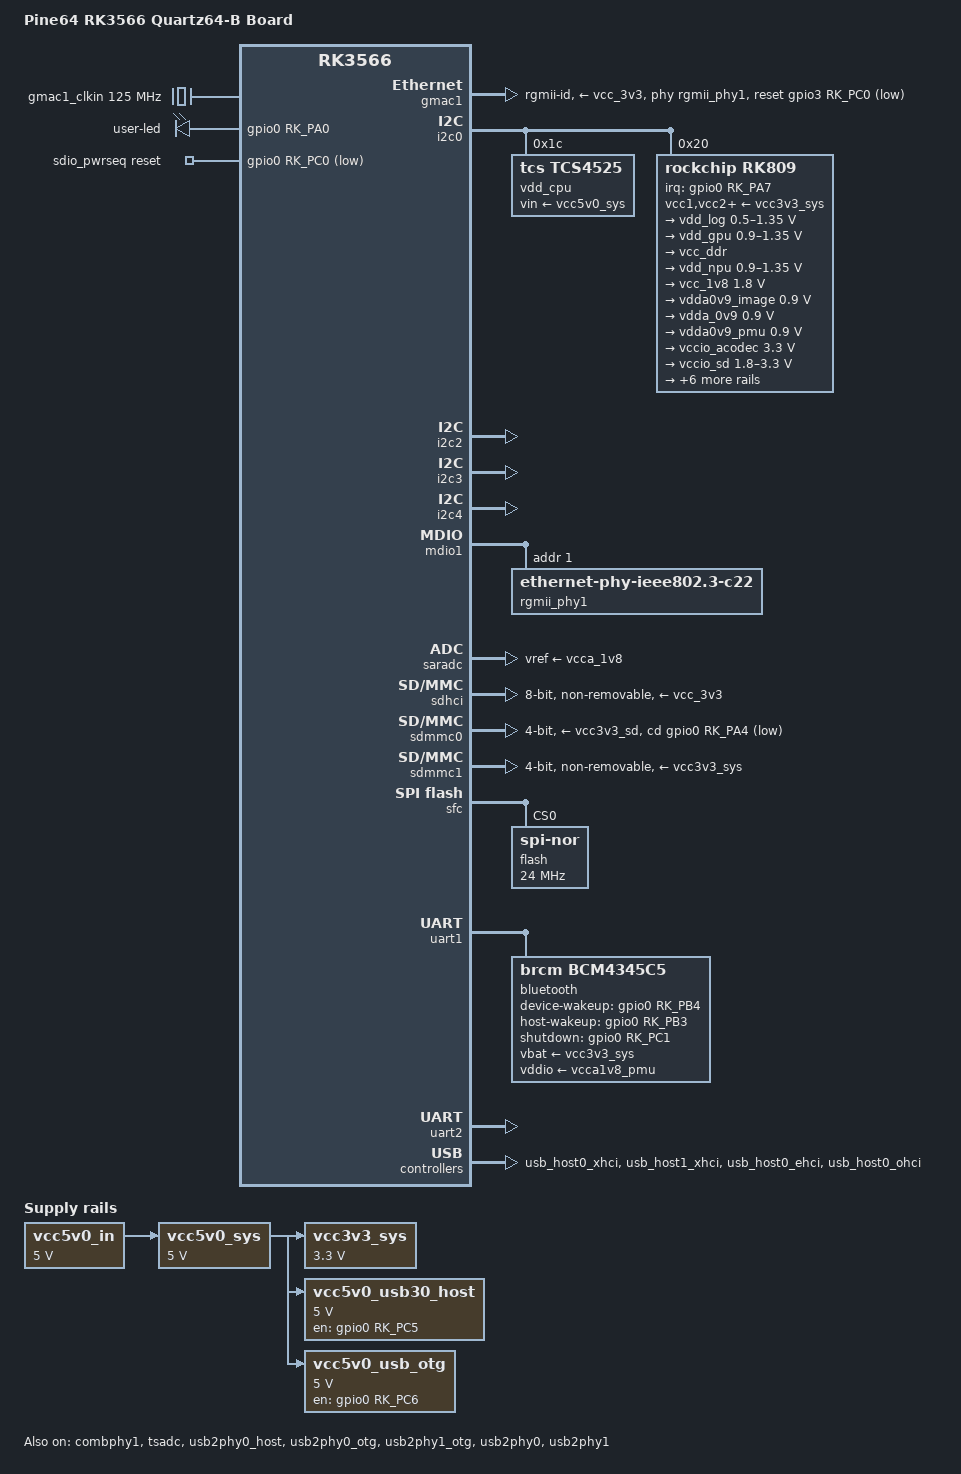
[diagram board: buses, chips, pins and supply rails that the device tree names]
// SPDX-License-Identifier: (GPL-2.0+ OR MIT)

/dts-v1/;

#include <dt-bindings/gpio/gpio.h>
#include <dt-bindings/pinctrl/rockchip.h>
#include "rk3566.dtsi"

/ {
	model = "Pine64 RK3566 Quartz64-B Board";
	compatible = "pine64,quartz64-b", "rockchip,rk3566";

	aliases {
		ethernet0 = &gmac1;
		mmc0 = &sdmmc0;
		mmc1 = &sdhci;
		mmc2 = &sdmmc1;
	};

	chosen: chosen {
		stdout-path = "serial2:1500000n8";
	};

	gmac1_clkin: external-gmac1-clock {
		compatible = "fixed-clock";
		clock-frequency = <125000000>;
		clock-output-names = "gmac1_clkin";
		#clock-cells = <0>;
	};

	leds {
		compatible = "gpio-leds";

		led-user {
			label = "user-led";
			default-state = "on";
			gpios = <&gpio0 RK_PA0 GPIO_ACTIVE_HIGH>;
			linux,default-trigger = "heartbeat";
			pinctrl-names = "default";
			pinctrl-0 = <&user_led_enable_h>;
			retain-state-suspended;
		};
	};

	sdio_pwrseq: sdio-pwrseq {
		status = "okay";
		compatible = "mmc-pwrseq-simple";
		clocks = <&rk809 1>;
		clock-names = "ext_clock";
		pinctrl-names = "default";
		pinctrl-0 = <&wifi_enable_h>;
		reset-gpios = <&gpio0 RK_PC0 GPIO_ACTIVE_LOW>;
		post-power-on-delay-ms = <100>;
		power-off-delay-us = <5000000>;
	};

	vcc5v0_in: vcc5v0-in-regulator {
		compatible = "regulator-fixed";
		regulator-name = "vcc5v0_in";
		regulator-always-on;
		regulator-boot-on;
		regulator-min-microvolt = <5000000>;
		regulator-max-microvolt = <5000000>;
	};

	vcc5v0_sys: vcc5v0-sys-regulator {
		compatible = "regulator-fixed";
		regulator-name = "vcc5v0_sys";
		regulator-always-on;
		regulator-boot-on;
		regulator-min-microvolt = <5000000>;
		regulator-max-microvolt = <5000000>;
		vin-supply = <&vcc5v0_in>;
	};

	vcc3v3_sys: vcc3v3-sys-regulator {
		compatible = "regulator-fixed";
		regulator-name = "vcc3v3_sys";
		regulator-min-microvolt = <3300000>;
		regulator-max-microvolt = <3300000>;
		regulator-always-on;
		vin-supply = <&vcc5v0_sys>;
	};

	vcc5v0_usb30_host: vcc5v0-usb30-host-regulator {
		compatible = "regulator-fixed";
		regulator-name = "vcc5v0_usb30_host";
		enable-active-high;
		gpio = <&gpio0 RK_PC5 GPIO_ACTIVE_HIGH>;
		pinctrl-names = "default";
		pinctrl-0 = <&vcc5v0_usb30_host_en_h>;
		regulator-always-on;
		regulator-min-microvolt = <5000000>;
		regulator-max-microvolt = <5000000>;
		vin-supply = <&vcc5v0_sys>;
	};

	vcc5v0_usb_otg: vcc5v0-usb-otg-regulator {
		compatible = "regulator-fixed";
		regulator-name = "vcc5v0_usb_otg";
		enable-active-high;
		gpio = <&gpio0 RK_PC6 GPIO_ACTIVE_HIGH>;
		pinctrl-names = "default";
		pinctrl-0 = <&vcc5v0_usb_otg_en_h>;
		regulator-always-on;
		regulator-min-microvolt = <5000000>;
		regulator-max-microvolt = <5000000>;
		vin-supply = <&vcc5v0_sys>;
	};
};

&combphy1 {
	status = "okay";
};

&cpu0 {
	cpu-supply = <&vdd_cpu>;
};

&cpu1 {
	cpu-supply = <&vdd_cpu>;
};

&cpu2 {
	cpu-supply = <&vdd_cpu>;
};

&cpu3 {
	cpu-supply = <&vdd_cpu>;
};

&gmac1 {
	assigned-clocks = <&cru SCLK_GMAC1_RX_TX>, <&cru SCLK_GMAC1_RGMII_SPEED>, <&cru SCLK_GMAC1>;
	assigned-clock-parents = <&cru SCLK_GMAC1_RGMII_SPEED>, <&cru SCLK_GMAC1>, <&gmac1_clkin>;
	clock_in_out = "input";
	phy-mode = "rgmii-id";
	phy-supply = <&vcc_3v3>;
	pinctrl-names = "default";
	pinctrl-0 = <&gmac1m1_miim
		     &gmac1m1_tx_bus2
		     &gmac1m1_rx_bus2
		     &gmac1m1_rgmii_clk
		     &gmac1m1_clkinout
		     &gmac1m1_rgmii_bus>;
	snps,reset-gpio = <&gpio3 RK_PC0 GPIO_ACTIVE_LOW>;
	snps,reset-active-low;
	/* Reset time is 20ms, 100ms for rtl8211f, also works well here */
	snps,reset-delays-us = <0 20000 100000>;
	tx_delay = <0x4f>;
	rx_delay = <0x24>;
	phy-handle = <&rgmii_phy1>;
	status = "okay";
};

&i2c0 {
	status = "okay";

	vdd_cpu: regulator@1c {
		compatible = "tcs,tcs4525";
		reg = <0x1c>;
		fcs,suspend-voltage-selector = <1>;
		regulator-name = "vdd_cpu";
		regulator-min-microvolt = <800000>;
		regulator-max-microvolt = <1150000>;
		regulator-ramp-delay = <2300>;
		regulator-always-on;
		regulator-boot-on;
		vin-supply = <&vcc5v0_sys>;

		regulator-state-mem {
			regulator-off-in-suspend;
		};
	};

	rk809: pmic@20 {
		compatible = "rockchip,rk809";
		reg = <0x20>;
		interrupt-parent = <&gpio0>;
		interrupts = <RK_PA7 IRQ_TYPE_LEVEL_LOW>;
		clock-output-names = "rk808-clkout1", "rk808-clkout2";

		pinctrl-names = "default";
		pinctrl-0 = <&pmic_int>;
		rockchip,system-power-controller;
		wakeup-source;
		#clock-cells = <1>;

		vcc1-supply = <&vcc3v3_sys>;
		vcc2-supply = <&vcc3v3_sys>;
		vcc3-supply = <&vcc3v3_sys>;
		vcc4-supply = <&vcc3v3_sys>;
		vcc5-supply = <&vcc3v3_sys>;
		vcc6-supply = <&vcc3v3_sys>;
		vcc7-supply = <&vcc3v3_sys>;
		vcc8-supply = <&vcc3v3_sys>;
		vcc9-supply = <&vcc3v3_sys>;

		regulators {
			vdd_log: DCDC_REG1 {
				regulator-name = "vdd_log";
				regulator-always-on;
				regulator-boot-on;
				regulator-min-microvolt = <500000>;
				regulator-max-microvolt = <1350000>;
				regulator-init-microvolt = <900000>;
				regulator-ramp-delay = <6001>;

				regulator-state-mem {
					regulator-on-in-suspend;
					regulator-suspend-microvolt = <900000>;
				};
			};

			vdd_gpu: DCDC_REG2 {
				regulator-name = "vdd_gpu";
				regulator-always-on;
				regulator-boot-on;
				regulator-min-microvolt = <900000>;
				regulator-max-microvolt = <1350000>;
				regulator-init-microvolt = <900000>;
				regulator-ramp-delay = <6001>;

				regulator-state-mem {
					regulator-off-in-suspend;
					regulator-suspend-microvolt = <900000>;
				};
			};

			vcc_ddr: DCDC_REG3 {
				regulator-name = "vcc_ddr";
				regulator-always-on;
				regulator-boot-on;
				regulator-initial-mode = <0x2>;
				regulator-state-mem {
					regulator-on-in-suspend;
				};
			};

			vdd_npu: DCDC_REG4 {
				regulator-name = "vdd_npu";
				regulator-min-microvolt = <900000>;
				regulator-max-microvolt = <1350000>;
				regulator-initial-mode = <0x2>;
				regulator-state-mem {
					regulator-off-in-suspend;
				};
			};

			vcc_1v8: DCDC_REG5 {
				regulator-name = "vcc_1v8";
				regulator-always-on;
				regulator-boot-on;
				regulator-min-microvolt = <1800000>;
				regulator-max-microvolt = <1800000>;

				regulator-state-mem {
					regulator-on-in-suspend;
					regulator-suspend-microvolt = <1800000>;
				};
			};

			vdda0v9_image: LDO_REG1 {
				regulator-name = "vdda0v9_image";
				regulator-always-on;
				regulator-boot-on;
				regulator-min-microvolt = <900000>;
				regulator-max-microvolt = <900000>;

				regulator-state-mem {
					regulator-on-in-suspend;
					regulator-suspend-microvolt = <900000>;
				};
			};

			vdda_0v9: LDO_REG2 {
				regulator-name = "vdda_0v9";
				regulator-always-on;
				regulator-boot-on;
				regulator-min-microvolt = <900000>;
				regulator-max-microvolt = <900000>;

				regulator-state-mem {
					regulator-on-in-suspend;
					regulator-suspend-microvolt = <900000>;
				};
			};

			vdda0v9_pmu: LDO_REG3 {
				regulator-name = "vdda0v9_pmu";
				regulator-always-on;
				regulator-boot-on;
				regulator-min-microvolt = <900000>;
				regulator-max-microvolt = <900000>;
				regulator-state-mem {
					regulator-on-in-suspend;
					regulator-suspend-microvolt = <900000>;
				};
			};

			vccio_acodec: LDO_REG4 {
				regulator-name = "vccio_acodec";
				regulator-always-on;
				regulator-boot-on;
				regulator-min-microvolt = <3300000>;
				regulator-max-microvolt = <3300000>;

				regulator-state-mem {
					regulator-on-in-suspend;
					regulator-suspend-microvolt = <3300000>;

				};
			};

			vccio_sd: LDO_REG5 {
				regulator-name = "vccio_sd";
				regulator-always-on;
				regulator-boot-on;
				regulator-min-microvolt = <1800000>;
				regulator-max-microvolt = <3300000>;

				regulator-state-mem {
					regulator-on-in-suspend;
					regulator-suspend-microvolt = <3300000>;
				};
			};

			vcc3v3_pmu: LDO_REG6 {
				regulator-name = "vcc3v3_pmu";
				regulator-always-on;
				regulator-boot-on;
				regulator-min-microvolt = <3300000>;
				regulator-max-microvolt = <3300000>;

				regulator-state-mem {
					regulator-on-in-suspend;
					regulator-suspend-microvolt = <3300000>;
				};
			};

			vcca_1v8: LDO_REG7 {
				regulator-name = "vcca_1v8";
				regulator-always-on;
				regulator-boot-on;
				regulator-min-microvolt = <1800000>;
				regulator-max-microvolt = <1800000>;

				regulator-state-mem {
					regulator-on-in-suspend;
					regulator-suspend-microvolt = <1800000>;
				};
			};

			vcca1v8_pmu: LDO_REG8 {
				regulator-name = "vcca1v8_pmu";
				regulator-always-on;
				regulator-boot-on;
				regulator-min-microvolt = <1800000>;
				regulator-max-microvolt = <1800000>;

				regulator-state-mem {
					regulator-on-in-suspend;
					regulator-suspend-microvolt = <1800000>;
				};
			};

			vcca1v8_image: LDO_REG9 {
				regulator-name = "vcca1v8_image";
				regulator-always-on;
				regulator-boot-on;
				regulator-min-microvolt = <1800000>;
				regulator-max-microvolt = <1800000>;

				regulator-state-mem {
					regulator-on-in-suspend;
					regulator-suspend-microvolt = <1800000>;
				};
			};

			vcc_3v3: SWITCH_REG1 {
				regulator-boot-on;
				regulator-name = "vcc_3v3";
			};

			vcc3v3_sd: SWITCH_REG2 {
				regulator-name = "vcc3v3_sd";
			};
		};
	};
};

/* i2c2_m1 exposed on csi port, pulled up to vcc_3v3 */
&i2c2 {
	pinctrl-names = "default";
	pinctrl-0 = <&i2c2m1_xfer>;
	status = "okay";
};

/* i2c3_m1 exposed on dsi port, pulled up to vcc_3v3 */
&i2c3 {
	pinctrl-names = "default";
	pinctrl-0 = <&i2c3m1_xfer>;
	status = "okay";
};

/*
 * i2c4_m0 is exposed on PI40, pulled up to vcc_3v3
 * pin 27 - i2c4_sda_m0
 * pin 28 - i2c4_scl_m0
 */
&i2c4 {
	status = "okay";
};

/*
 * i2c5_m0 is exposed on PI40
 * pin 29 - i2c5_scl_m0
 * pin 31 - i2c5_sda_m0
 */
&i2c5 {
	status = "disabled";
};

&mdio1 {
	rgmii_phy1: ethernet-phy@1 {
		compatible = "ethernet-phy-ieee802.3-c22";
		reg = <0x1>;
	};
};

&pinctrl {
	bt {
		bt_enable_h: bt-enable-h {
			rockchip,pins = <0 RK_PC1 RK_FUNC_GPIO &pcfg_pull_none>;
		};

		bt_host_wake_l: bt-host-wake-l {
			rockchip,pins = <0 RK_PB3 RK_FUNC_GPIO &pcfg_pull_down>;
		};

		bt_wake_l: bt-wake-l {
			rockchip,pins = <0 RK_PB4 RK_FUNC_GPIO &pcfg_pull_none>;
		};
	};

	leds {
		user_led_enable_h: user-led-enable-h {
			rockchip,pins = <0 RK_PA0 RK_FUNC_GPIO &pcfg_pull_none>;
		};
	};

	pmic {
		pmic_int: pmic_int {
			rockchip,pins =
				<0 RK_PA3 RK_FUNC_GPIO &pcfg_pull_up>;
		};
	};

	sdio-pwrseq {
		wifi_enable_h: wifi-enable-h {
			rockchip,pins = <0 RK_PC0 RK_FUNC_GPIO &pcfg_pull_none>;
		};
	};

	usb {
		vcc5v0_usb30_host_en_h: vcc5v0-usb30-host-en_h {
			rockchip,pins = <0 RK_PC5 RK_FUNC_GPIO &pcfg_pull_none>;
		};

		vcc5v0_usb_otg_en_h: vcc5v0-usb-otg-en_h {
			rockchip,pins = <0 RK_PC6 RK_FUNC_GPIO &pcfg_pull_none>;
		};
	};
};

&pmu_io_domains {
	status = "okay";
	pmuio1-supply = <&vcc3v3_pmu>;
	pmuio2-supply = <&vcca1v8_pmu>;
	vccio1-supply = <&vccio_acodec>;
	vccio2-supply = <&vcc_1v8>;
	vccio3-supply = <&vccio_sd>;
	vccio4-supply = <&vcca1v8_pmu>;
	vccio5-supply = <&vcc_3v3>;
	vccio6-supply = <&vcc_3v3>;
	vccio7-supply = <&vcc_3v3>;
};

&saradc {
	vref-supply = <&vcca_1v8>;
	status = "okay";
};

&sdhci {
	bus-width = <8>;
	mmc-hs200-1_8v;
	non-removable;
	vmmc-supply = <&vcc_3v3>;
	vqmmc-supply = <&vcc_1v8>;
	status = "okay";
};

&sdmmc0 {
	bus-width = <4>;
	cap-sd-highspeed;
	cd-gpios = <&gpio0 RK_PA4 GPIO_ACTIVE_LOW>;
	disable-wp;
	pinctrl-names = "default";
	pinctrl-0 = <&sdmmc0_bus4 &sdmmc0_clk &sdmmc0_cmd &sdmmc0_det>;
	sd-uhs-sdr104;
	vmmc-supply = <&vcc3v3_sd>;
	vqmmc-supply = <&vccio_sd>;
	status = "okay";
};

&sdmmc1 {
	bus-width = <4>;
	cap-sd-highspeed;
	cap-sdio-irq;
	keep-power-in-suspend;
	mmc-pwrseq = <&sdio_pwrseq>;
	non-removable;
	pinctrl-names = "default";
	pinctrl-0 = <&sdmmc1_bus4 &sdmmc1_cmd &sdmmc1_clk>;
	vmmc-supply = <&vcc3v3_sys>;
	vqmmc-supply = <&vcca1v8_pmu>;
	status = "okay";
};

&sfc {
	pinctrl-0 = <&fspi_pins>;
	pinctrl-names = "default";
	#address-cells = <1>;
	#size-cells = <0>;
	status = "okay";

	flash@0 {
		compatible = "jedec,spi-nor";
		reg = <0>;
		spi-max-frequency = <24000000>;
		spi-rx-bus-width = <4>;
		spi-tx-bus-width = <1>;
	};
};

&tsadc {
	status = "okay";
};

&uart1 {
	pinctrl-names = "default";
	pinctrl-0 = <&uart1m0_xfer &uart1m0_ctsn &uart1m0_rtsn>;
	status = "okay";
	uart-has-rtscts;

	bluetooth {
		compatible = "brcm,bcm4345c5";
		clocks = <&rk809 1>;
		clock-names = "lpo";
		device-wakeup-gpios = <&gpio0 RK_PB4 GPIO_ACTIVE_HIGH>;
		host-wakeup-gpios = <&gpio0 RK_PB3 GPIO_ACTIVE_HIGH>;
		shutdown-gpios = <&gpio0 RK_PC1 GPIO_ACTIVE_HIGH>;
		pinctrl-names = "default";
		pinctrl-0 = <&bt_host_wake_l &bt_wake_l &bt_enable_h>;
		vbat-supply = <&vcc3v3_sys>;
		vddio-supply = <&vcca1v8_pmu>;
	};
};

/*
 * uart2_m0 is exposed on PI40
 * pin 8  - uart2_tx_m0
 * pin 10 - uart2_rx_m0
 */
&uart2 {
	status = "okay";
};

&usb2phy0_host {
	phy-supply = <&vcc5v0_usb30_host>;
	status = "okay";
};

&usb2phy0_otg {
	phy-supply = <&vcc5v0_usb_otg>;
	status = "okay";
};

&usb2phy1_otg {
	phy-supply = <&vcc5v0_usb30_host>;
	status = "okay";
};

&usb2phy0 {
	status = "okay";
};

&usb2phy1 {
	status = "okay";
};

&usb_host0_xhci {
	status = "okay";
};

&usb_host1_xhci {
	status = "okay";
};

&usb_host0_ehci {
	status = "okay";
};

&usb_host0_ohci {
	status = "okay";
};
